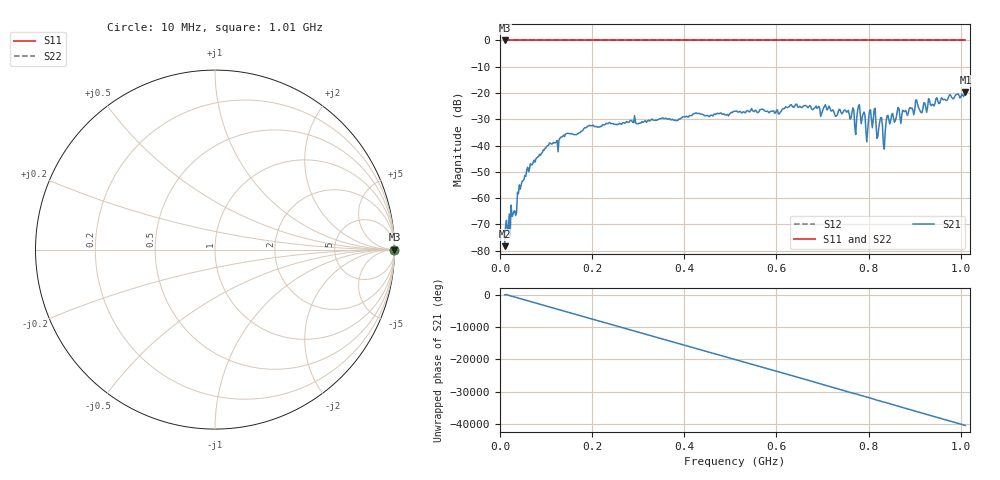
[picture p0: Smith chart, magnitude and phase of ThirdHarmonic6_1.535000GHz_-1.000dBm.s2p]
! 8/16/2025 6:11:16 PM
! C:\ANRITSUVNA\TEMP\TEMP.S2P
! CHANNEL.1
! TR.MEASUREMENT
! RAW.DATA
! RF.CORRECTION.OFF
! AVERAGING.OFF
! IF.BANDWIDTH: 5KHZ
! SWEEPTYPE:  FREQ.SWEEP(Linear)
! Reference Plane Port Info
! PORT:  PORT1  PORT2
! DISTANCE:  0  m  0  m
! TIME:  0  s  0  s
! PHASE.OFFSET:  0  deg.  0  deg.
! LOSS:  0  dB  0  dB
! REF.LOSS:  0  dB  0  dB
! REF.FREQ:  0  Hz  0  Hz
! Power Info
! POWER:  -20  dBm  -20  dBm
! EFF.POWER:  -20  dBm  -20  dBm
! SOURCE.ATTEN:  0  dB  0  dB
! TEST.ATTEN:  0  dB  0  dB
# GHZ S RI R 50.0
! FREQ.GHZ  S11RE  S11IM  S21RE  S21IM  S12RE  S12IM  S22RE  S22IM
!; PortSelection: Port_12
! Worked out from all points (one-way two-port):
!   501 points, 10 MHz to 1.01 GHz, reference 50 ohm
!   highest |S21| = -19.74 dB at 1.01 GHz (marker M1); lowest = -78.2 dB at 10 MHz (marker M2)
!   lowest |S11| = 0.0 dB at 10 MHz (marker M3)
!   |S11| at or under -10 dB: nowhere
!   |S22| runs from 0.0 to 0.0 dB; largest |S21 - S12| = 1.1
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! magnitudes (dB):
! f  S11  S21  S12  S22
! 10 MHz  0.0  -78.2  0.0  0.0
! 16 MHz  0.0  -72.1  0.0  0.0
! 32 MHz  0.0  -64.8  0.0  0.0
! 42 MHz  0.0  -54.9  0.0  0.0
! 70 MHz  0.0  -47.3  0.0  0.0
! 106 MHz  0.0  -39.6  0.0  0.0
! 178 MHz  0.0  -34.5  0.0  0.0
! 344 MHz  0.0  -30.0  0.0  0.0
! 510 MHz  0.0  -27.0  0.0  0.0
! 678 MHz  0.0  -26.4  0.0  0.0
! 752 MHz  0.0  -27.3  0.0  0.0
! 772 MHz  0.0  -35.8  0.0  0.0
! 778 MHz  0.0  -24.9  0.0  0.0
! 796 MHz  0.0  -38.6  0.0  0.0
! 804 MHz  0.0  -26.4  0.0  0.0
! 812 MHz  0.0  -26.3  0.0  0.0
! 820 MHz  0.0  -36.5  0.0  0.0
! 826 MHz  0.0  -29.4  0.0  0.0
! 834 MHz  0.0  -41.3  0.0  0.0
! 844 MHz  0.0  -30.4  0.0  0.0
! 904 MHz  0.0  -22.6  0.0  0.0
! 1.01 GHz  0.0  -19.7  0.0  0.0
